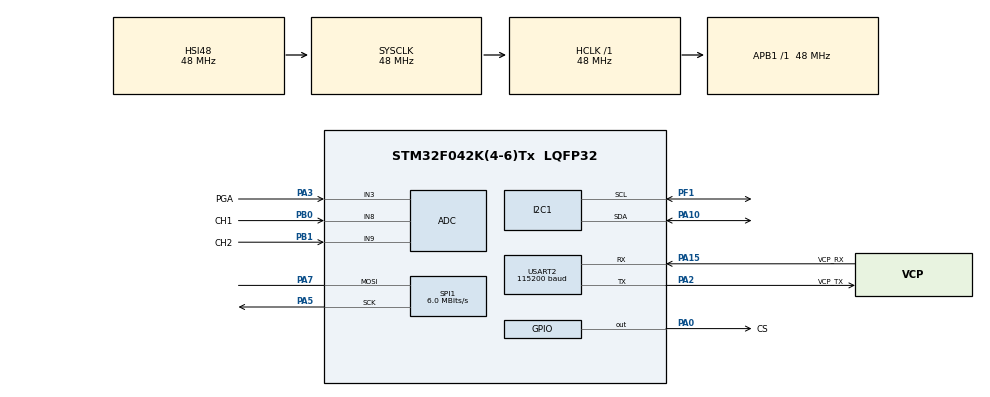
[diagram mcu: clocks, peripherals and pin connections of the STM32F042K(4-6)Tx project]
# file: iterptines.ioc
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ADC.ClockPrescaler=ADC_CLOCK_SYNC_PCLK_DIV4
ADC.ContinuousConvMode=DISABLE
ADC.DMAContinuousRequests=ENABLE
ADC.DiscontinuousConvMode=DISABLE
ADC.EOCSelection=ADC_EOC_SEQ_CONV
ADC.ExternalTrigConv=ADC_EXTERNALTRIGCONV_T1_TRGO
ADC.SamplingTime=ADC_SAMPLETIME_7CYCLES_5
Dma.ADC.0.Direction=DMA_PERIPH_TO_MEMORY
Dma.ADC.0.Instance=DMA1_Channel1
Dma.ADC.0.MemDataAlignment=DMA_MDATAALIGN_HALFWORD
Dma.ADC.0.MemInc=DMA_MINC_ENABLE
Dma.ADC.0.Mode=DMA_CIRCULAR
Dma.ADC.0.PeriphDataAlignment=DMA_PDATAALIGN_HALFWORD
Dma.ADC.0.PeriphInc=DMA_PINC_DISABLE
Dma.ADC.0.Priority=DMA_PRIORITY_LOW
Dma.Request0=ADC
I2C1.Timing=0x00201D2B
Mcu.Family=STM32F0
Mcu.Name=STM32F042K(4-6)Tx
Mcu.Package=LQFP32
NVIC.ADC1_IRQn=true\:0\:0\:false\:false\:true\:true\:true\:true
NVIC.DMA1_Channel1_IRQn=true\:0\:0\:false\:false\:true\:false\:true\:true
NVIC.SPI1_IRQn=true\:0\:0\:false\:false\:true\:true\:true\:true
NVIC.TIM1_BRK_UP_TRG_COM_IRQn=true\:0\:0\:false\:false\:true\:true\:true\:true
PA0.GPIO_Label=CS
PA0.Signal=GPIO_Output
PA10.Mode=I2C
PA10.Signal=I2C1_SDA
PA13.GPIO_Label=SWDIO
PA13.Mode=Serial_Wire
PA13.Signal=SYS_SWDIO
PA14.GPIO_Label=SWCLK
PA14.Mode=Serial_Wire
PA14.Signal=SYS_SWCLK
PA15.GPIO_Label=VCP_RX
PA15.Mode=Asynchronous
PA15.Signal=USART2_RX
PA2.GPIO_Label=VCP_TX
PA2.Mode=Asynchronous
PA2.Signal=USART2_TX
PA3.GPIO_Label=PGA
PA3.Mode=IN3
PA3.Signal=ADC_IN3
PA5.Mode=Simplex_Bidirectional_Master
PA5.Signal=SPI1_SCK
PA7.Mode=Simplex_Bidirectional_Master
PA7.Signal=SPI1_MOSI
PB0.GPIO_Label=CH1
PB0.Mode=IN8
PB0.Signal=ADC_IN8
PB1.GPIO_Label=CH2
PB1.Mode=IN9
PB1.Signal=ADC_IN9
PF0-OSC_IN.GPIO_Label=MCO
PF0-OSC_IN.Signal=RCC_OSC_IN
PF1-OSC_OUT.Mode=I2C
PF1-OSC_OUT.Signal=I2C1_SCL
ProjectManager.HeapSize=0x200
ProjectManager.StackSize=0x400
ProjectManager.TargetToolchain=STM32CubeIDE
RCC.AHBFreq_Value=48000000
RCC.APB1Freq_Value=48000000
RCC.APB1TimFreq_Value=48000000
RCC.HCLKFreq_Value=48000000
RCC.PLLMUL=RCC_PLL_MUL6
RCC.SYSCLKFreq_VALUE=48000000
RCC.SYSCLKSource=RCC_SYSCLKSOURCE_HSI48
SPI1.BaudRatePrescaler=SPI_BAUDRATEPRESCALER_8
SPI1.CalculateBaudRate=6.0 MBits/s
SPI1.DataSize=SPI_DATASIZE_16BIT
SPI1.Direction=SPI_DIRECTION_1LINE
SPI1.Mode=SPI_MODE_MASTER
SPI1.VirtualType=VM_MASTER
TIM1.AutoReloadPreload=TIM_AUTORELOAD_PRELOAD_ENABLE
TIM1.Period=65535
TIM1.Prescaler=2
TIM1.TIM_MasterOutputTrigger=TIM_TRGO_UPDATE
USART2.BaudRate=115200
USART2.VirtualMode-Asynchronous=VM_ASYNC
VP_TIM1_VS_ClockSourceINT.Mode=Internal
board=NUCLEO-F042K6

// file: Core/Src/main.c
/* USER CODE BEGIN Header */
/**
  ******************************************************************************
  * @file           : main.c
  * @brief          : Main program body
  ******************************************************************************
  * @attention
  *
  * Copyright (c) 2026 STMicroelectronics.
  * All rights reserved.
  *
  * This software is licensed under terms that can be found in the LICENSE file
  * in the root directory of this software component.
  * If no LICENSE file comes with this software, it is provided AS-IS.
  *
  ******************************************************************************
  */
/* USER CODE END Header */
#include "main.h"

/* USER CODE BEGIN Includes */
#include "ssd1306.h"
#include "ssd1306_fonts.h"
/* USER CODE END Includes */

/* USER CODE BEGIN PD */
#define column_pos 14*6
#define SAMPLES 401
#define CHANNELS 3
#define VDD 3.21
#define COEF 387097
#define CORR1 17
#define CORR2 17
/* USER CODE END PD */

ADC_HandleTypeDef hadc;
DMA_HandleTypeDef hdma_adc;

I2C_HandleTypeDef hi2c1;

SPI_HandleTypeDef hspi1;

TIM_HandleTypeDef htim1;

UART_HandleTypeDef huart2;

/* USER CODE BEGIN PV */
volatile uint16_t dma[CHANNELS*SAMPLES];
uint32_t vidurkis_ev1=0,vidurkis_ev2=0,vidurkis_u1=0,vidurkis_u2=0;
int16_t skirtumas=0;
float vidurkis_ev1f=0,vidurkis_ev2f=0,vidurkis_u1f=0,vidurkis_u2f=0,skirtumas_f;
volatile uint8_t puses=0;
/* USER CODE END PV */

void SystemClock_Config(void);
static void MX_GPIO_Init(void);
static void MX_DMA_Init(void);
static void MX_USART2_UART_Init(void);
static void MX_ADC_Init(void);
static void MX_I2C1_Init(void);
static void MX_SPI1_Init(void);
static void MX_TIM1_Init(void);

int main(void)
{

  /* MCU Configuration--------------------------------------------------------*/

  /* Reset of all peripherals, Initializes the Flash interface and the Systick. */
  HAL_Init();

  /* Configure the system clock */
  SystemClock_Config();

  /* Initialize all configured peripherals */
  MX_GPIO_Init();
  MX_DMA_Init();
  MX_USART2_UART_Init();
  MX_ADC_Init();
  MX_I2C1_Init();
  MX_SPI1_Init();
  MX_TIM1_Init();
  /* USER CODE BEGIN 2 */
  if (HAL_ADCEx_Calibration_Start(&hadc) != HAL_OK)
  {
      Error_Handler();
  }

  HAL_ADC_Start_DMA(&hadc, (uint32_t*)dma, SAMPLES*CHANNELS);
  HAL_TIM_Base_Start(&htim1);

  ssd1306_Init();
  ssd1306_SetCursor(0,0);
  ssd1306_WriteString("Apsviestumas",Font_6x8,White);
  ssd1306_SetCursor(0,9);
  ssd1306_WriteString("   AVG:   CH1      lx",Font_6x8,White);
  ssd1306_SetCursor(0,18);
  ssd1306_WriteString("          CH2      lx",Font_6x8,White);
  ssd1306_SetCursor(0,27);
  ssd1306_WriteString("   Skirtumas:      lx",Font_6x8,White);
  ssd1306_SetCursor(0,38);
  ssd1306_WriteString("Itampos",Font_6x8,White);
  ssd1306_SetCursor(0,47);
  ssd1306_WriteString("   AVG:   CH1      V",Font_6x8,White);
  ssd1306_SetCursor(0,56);
  ssd1306_WriteString("          CH2      V",Font_6x8,White);
  /* USER CODE END 2 */

  /* Infinite loop */
  /* USER CODE BEGIN WHILE */
  while (1)
  {
	  if(puses>=2){
		  puses=0;
		  vidurkis_ev1=0;
		  vidurkis_ev2=0;
		  for(int i=2;i<SAMPLES*CHANNELS+1;i+=3){
			  vidurkis_ev1+=dma[i-1];
			  vidurkis_ev2+=dma[i];
		  }
		  vidurkis_ev1f=(float)vidurkis_ev1/SAMPLES;
		  vidurkis_ev2f=(float)vidurkis_ev2/SAMPLES;

		  vidurkis_ev1f=vidurkis_ev1f*VDD/4095; //itampa ant r
		  vidurkis_ev1f=vidurkis_ev1f/4700; //srove
		  vidurkis_ev1f=vidurkis_ev1f*COEF*CORR1; //apsviestumas
		  vidurkis_ev2f=vidurkis_ev2f*VDD/4095; //itampa ant r
		  vidurkis_ev2f=vidurkis_ev2f/4700; //srove
		  vidurkis_ev2f=vidurkis_ev2f*COEF*CORR2; //apsviestumas

		  skirtumas=dma[SAMPLES*CHANNELS-1-1]-dma[SAMPLES*CHANNELS-1];
		  skirtumas_f=skirtumas*VDD/4095;
		  skirtumas_f=skirtumas_f/4700;
		  skirtumas_f=skirtumas_f*COEF*(CORR1+CORR2)/2;
	  }
//	  ssd1306_SetCursor(column_pos,9);
//	  ssd1306_WriteString("1000",Font_6x8,White); // ch1 apsviestumas
//	  ssd1306_SetCursor(column_pos,18);
//	  ssd1306_WriteString("1000",Font_6x8,White); // ch2 apsviestumas
//	  ssd1306_SetCursor(column_pos,27);
//	  ssd1306_WriteString("1000",Font_6x8,White); // apsviestumu skirtumas
//	  ssd1306_SetCursor(column_pos,47);
//	  ssd1306_WriteString("25.0",Font_6x8,White); // ch1 itampa
//	  ssd1306_SetCursor(column_pos,56);
//	  ssd1306_WriteString("25.0",Font_6x8,White); // ch2 itampa
//	  ssd1306_UpdateScreen();
    /* USER CODE END WHILE */

  }
}

void SystemClock_Config(void)
{
  RCC_OscInitTypeDef RCC_OscInitStruct = {0};
  RCC_ClkInitTypeDef RCC_ClkInitStruct = {0};
  RCC_PeriphCLKInitTypeDef PeriphClkInit = {0};

  /** Initializes the RCC Oscillators according to the specified parameters
  * in the RCC_OscInitTypeDef structure.
  */
  RCC_OscInitStruct.OscillatorType = RCC_OSCILLATORTYPE_HSI|RCC_OSCILLATORTYPE_HSI48;
  RCC_OscInitStruct.HSIState = RCC_HSI_ON;
  RCC_OscInitStruct.HSI48State = RCC_HSI48_ON;
  RCC_OscInitStruct.HSICalibrationValue = RCC_HSICALIBRATION_DEFAULT;
  RCC_OscInitStruct.PLL.PLLState = RCC_PLL_NONE;
  if (HAL_RCC_OscConfig(&RCC_OscInitStruct) != HAL_OK)
  {
    Error_Handler();
  }

  /** Initializes the CPU, AHB and APB buses clocks
  */
  RCC_ClkInitStruct.ClockType = RCC_CLOCKTYPE_HCLK|RCC_CLOCKTYPE_SYSCLK
                              |RCC_CLOCKTYPE_PCLK1;
  RCC_ClkInitStruct.SYSCLKSource = RCC_SYSCLKSOURCE_HSI48;
  RCC_ClkInitStruct.AHBCLKDivider = RCC_SYSCLK_DIV1;
  RCC_ClkInitStruct.APB1CLKDivider = RCC_HCLK_DIV1;

  if (HAL_RCC_ClockConfig(&RCC_ClkInitStruct, FLASH_LATENCY_1) != HAL_OK)
  {
    Error_Handler();
  }
  PeriphClkInit.PeriphClockSelection = RCC_PERIPHCLK_I2C1;
  PeriphClkInit.I2c1ClockSelection = RCC_I2C1CLKSOURCE_HSI;
  if (HAL_RCCEx_PeriphCLKConfig(&PeriphClkInit) != HAL_OK)
  {
    Error_Handler();
  }
}

static void MX_ADC_Init(void)
{

  ADC_ChannelConfTypeDef sConfig = {0};

  /** Configure the global features of the ADC (Clock, Resolution, Data Alignment and number of conversion)
  */
  hadc.Instance = ADC1;
  hadc.Init.ClockPrescaler = ADC_CLOCK_SYNC_PCLK_DIV4;
  hadc.Init.Resolution = ADC_RESOLUTION_12B;
  hadc.Init.DataAlign = ADC_DATAALIGN_RIGHT;
  hadc.Init.ScanConvMode = ADC_SCAN_DIRECTION_FORWARD;
  hadc.Init.EOCSelection = ADC_EOC_SEQ_CONV;
  hadc.Init.LowPowerAutoWait = DISABLE;
  hadc.Init.LowPowerAutoPowerOff = DISABLE;
  hadc.Init.ContinuousConvMode = DISABLE;
  hadc.Init.DiscontinuousConvMode = DISABLE;
  hadc.Init.ExternalTrigConv = ADC_EXTERNALTRIGCONV_T1_TRGO;
  hadc.Init.ExternalTrigConvEdge = ADC_EXTERNALTRIGCONVEDGE_RISING;
  hadc.Init.DMAContinuousRequests = ENABLE;
  hadc.Init.Overrun = ADC_OVR_DATA_PRESERVED;
  if (HAL_ADC_Init(&hadc) != HAL_OK)
  {
    Error_Handler();
  }

  /** Configure for the selected ADC regular channel to be converted.
  */
  sConfig.Channel = ADC_CHANNEL_3;
  sConfig.Rank = ADC_RANK_CHANNEL_NUMBER;
  sConfig.SamplingTime = ADC_SAMPLETIME_7CYCLES_5;
  if (HAL_ADC_ConfigChannel(&hadc, &sConfig) != HAL_OK)
  {
    Error_Handler();
  }

  /** Configure for the selected ADC regular channel to be converted.
  */
  sConfig.Channel = ADC_CHANNEL_8;
  if (HAL_ADC_ConfigChannel(&hadc, &sConfig) != HAL_OK)
  {
    Error_Handler();
  }

  /** Configure for the selected ADC regular channel to be converted.
  */
  sConfig.Channel = ADC_CHANNEL_9;
  if (HAL_ADC_ConfigChannel(&hadc, &sConfig) != HAL_OK)
  {
    Error_Handler();
  }

}

static void MX_I2C1_Init(void)
{

  hi2c1.Instance = I2C1;
  hi2c1.Init.Timing = 0x00201D2B;
  hi2c1.Init.OwnAddress1 = 0;
  hi2c1.Init.AddressingMode = I2C_ADDRESSINGMODE_7BIT;
  hi2c1.Init.DualAddressMode = I2C_DUALADDRESS_DISABLE;
  hi2c1.Init.OwnAddress2 = 0;
  hi2c1.Init.OwnAddress2Masks = I2C_OA2_NOMASK;
  hi2c1.Init.GeneralCallMode = I2C_GENERALCALL_DISABLE;
  hi2c1.Init.NoStretchMode = I2C_NOSTRETCH_DISABLE;
  if (HAL_I2C_Init(&hi2c1) != HAL_OK)
  {
    Error_Handler();
  }

  /** Configure Analogue filter
  */
  if (HAL_I2CEx_ConfigAnalogFilter(&hi2c1, I2C_ANALOGFILTER_ENABLE) != HAL_OK)
  {
    Error_Handler();
  }

  /** Configure Digital filter
  */
  if (HAL_I2CEx_ConfigDigitalFilter(&hi2c1, 0) != HAL_OK)
  {
    Error_Handler();
  }

}

static void MX_SPI1_Init(void)
{

  /* SPI1 parameter configuration*/
  hspi1.Instance = SPI1;
  hspi1.Init.Mode = SPI_MODE_MASTER;
  hspi1.Init.Direction = SPI_DIRECTION_1LINE;
  hspi1.Init.DataSize = SPI_DATASIZE_8BIT;
  hspi1.Init.CLKPolarity = SPI_POLARITY_LOW;
  hspi1.Init.CLKPhase = SPI_PHASE_1EDGE;
  hspi1.Init.NSS = SPI_NSS_SOFT;
  hspi1.Init.BaudRatePrescaler = SPI_BAUDRATEPRESCALER_8;
  hspi1.Init.FirstBit = SPI_FIRSTBIT_MSB;
  hspi1.Init.TIMode = SPI_TIMODE_DISABLE;
  hspi1.Init.CRCCalculation = SPI_CRCCALCULATION_DISABLE;
  hspi1.Init.CRCPolynomial = 7;
  hspi1.Init.CRCLength = SPI_CRC_LENGTH_DATASIZE;
  hspi1.Init.NSSPMode = SPI_NSS_PULSE_ENABLE;
  if (HAL_SPI_Init(&hspi1) != HAL_OK)
  {
    Error_Handler();
  }

}

static void MX_TIM1_Init(void)
{

  TIM_ClockConfigTypeDef sClockSourceConfig = {0};
  TIM_MasterConfigTypeDef sMasterConfig = {0};

  htim1.Instance = TIM1;
  htim1.Init.Prescaler = 2;
  htim1.Init.CounterMode = TIM_COUNTERMODE_UP;
  htim1.Init.Period = 65535;
  htim1.Init.ClockDivision = TIM_CLOCKDIVISION_DIV1;
  htim1.Init.RepetitionCounter = 0;
  htim1.Init.AutoReloadPreload = TIM_AUTORELOAD_PRELOAD_ENABLE;
  if (HAL_TIM_Base_Init(&htim1) != HAL_OK)
  {
    Error_Handler();
  }
  sClockSourceConfig.ClockSource = TIM_CLOCKSOURCE_INTERNAL;
  if (HAL_TIM_ConfigClockSource(&htim1, &sClockSourceConfig) != HAL_OK)
  {
    Error_Handler();
  }
  sMasterConfig.MasterOutputTrigger = TIM_TRGO_UPDATE;
  sMasterConfig.MasterSlaveMode = TIM_MASTERSLAVEMODE_DISABLE;
  if (HAL_TIMEx_MasterConfigSynchronization(&htim1, &sMasterConfig) != HAL_OK)
  {
    Error_Handler();
  }

}

static void MX_USART2_UART_Init(void)
{

  huart2.Instance = USART2;
  huart2.Init.BaudRate = 115200;
  huart2.Init.WordLength = UART_WORDLENGTH_8B;
  huart2.Init.StopBits = UART_STOPBITS_1;
  huart2.Init.Parity = UART_PARITY_NONE;
  huart2.Init.Mode = UART_MODE_TX_RX;
  huart2.Init.HwFlowCtl = UART_HWCONTROL_NONE;
  huart2.Init.OverSampling = UART_OVERSAMPLING_16;
  huart2.Init.OneBitSampling = UART_ONE_BIT_SAMPLE_DISABLE;
  huart2.AdvancedInit.AdvFeatureInit = UART_ADVFEATURE_NO_INIT;
  if (HAL_UART_Init(&huart2) != HAL_OK)
  {
    Error_Handler();
  }

}

static void MX_DMA_Init(void)
{

  /* DMA controller clock enable */
  __HAL_RCC_DMA1_CLK_ENABLE();

  /* DMA interrupt init */
  /* DMA1_Channel1_IRQn interrupt configuration */
  HAL_NVIC_SetPriority(DMA1_Channel1_IRQn, 0, 0);
  HAL_NVIC_EnableIRQ(DMA1_Channel1_IRQn);

}

static void MX_GPIO_Init(void)
{
  GPIO_InitTypeDef GPIO_InitStruct = {0};

  /* GPIO Ports Clock Enable */
  __HAL_RCC_GPIOF_CLK_ENABLE();
  __HAL_RCC_GPIOA_CLK_ENABLE();
  __HAL_RCC_GPIOB_CLK_ENABLE();

  /*Configure GPIO pin Output Level */
  HAL_GPIO_WritePin(CS_GPIO_Port, CS_Pin, GPIO_PIN_RESET);

  /*Configure GPIO pin : CS_Pin */
  GPIO_InitStruct.Pin = CS_Pin;
  GPIO_InitStruct.Mode = GPIO_MODE_OUTPUT_PP;
  GPIO_InitStruct.Pull = GPIO_NOPULL;
  GPIO_InitStruct.Speed = GPIO_SPEED_FREQ_LOW;
  HAL_GPIO_Init(CS_GPIO_Port, &GPIO_InitStruct);

}

/* USER CODE BEGIN 4 */
void HAL_ADC_ConvHalfCpltCallback(ADC_HandleTypeDef *hadc){
	puses=1;
	//pga turetu kiekviena timerio callbacka togglint kanala
	//apsviestumas i pc
	// counteris itampai
	// counteris displayui
}
void HAL_ADC_ConvCpltCallback(ADC_HandleTypeDef *hadc)
{
    puses = 2;
}
/* USER CODE END 4 */

void Error_Handler(void)
{
  __disable_irq();
  while (1)
  {
  }
}
